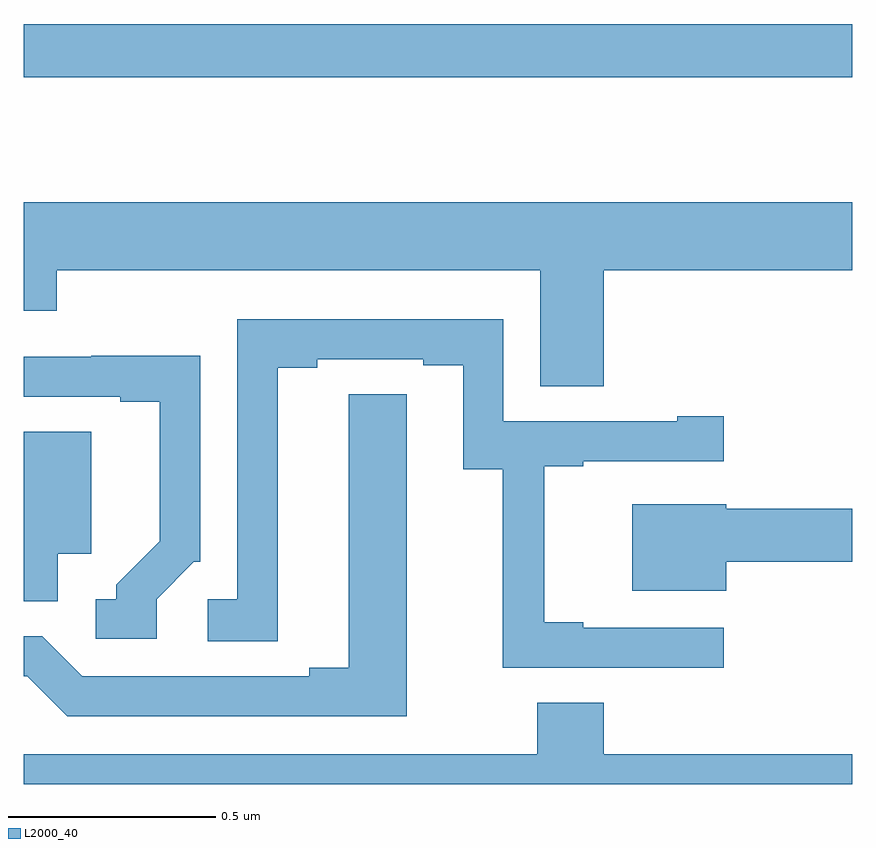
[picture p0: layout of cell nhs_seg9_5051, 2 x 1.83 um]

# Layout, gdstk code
import gdstk
lib = gdstk.Library(unit=1e-6, precision=1e-09)
def R(c, l, rs):  # rectangles x0, y0, x1, y1
    for r in rs: c.add(gdstk.rectangle(r[:2], r[2:], *l))
def P(c, l, *ps):  # polygons
    for p in ps: c.add(gdstk.Polygon(p, *l))
L2000_40 = (2000, 40)

nhs_seg9_5051 = lib.new_cell('nhs_seg9_5051')
R(nhs_seg9_5051, L2000_40, [(174,1210.206,176,1210.334)])
P(nhs_seg9_5051, L2000_40, [(175.4,1209.74),(176,1209.74),(176,1209.904),(174,1209.904),(174,1209.642),(174.08,1209.642),(174.08,1209.74),(175.247,1209.74),(175.247,1209.46),(175.4,1209.46)],
  [(175.69,1208.877),(175.351,1208.877),(175.351,1208.89),(175.256,1208.89),(175.256,1209.267),(175.351,1209.267),(175.351,1209.279),(175.69,1209.279),(175.69,1209.388),(175.577,1209.388),(175.577,1209.375),(175.158,1209.375),(175.158,1209.621),(174.516,1209.621),(174.516,1208.946),(174.444,1208.946),(174.444,1208.845),(174.613,1208.845),(174.613,1209.505),(174.709,1209.505),(174.709,1209.525),(174.965,1209.525),(174.965,1209.51),(175.061,1209.51),(175.061,1209.259),(175.156,1209.259),(175.156,1208.781),(175.69,1208.781)],
  [(174.321,1208.946),(174.411,1209.036),(174.426,1209.036),(174.426,1209.533),(174.163,1209.533),(174.163,1209.531),(174,1209.531),(174,1209.435),(174.233,1209.435),(174.233,1209.423),(174.329,1209.423),(174.329,1209.086),(174.224,1208.981),(174.224,1208.946),(174.174,1208.946),(174.174,1208.85),(174.321,1208.85)],
  [(174.925,1209.332),(174.924,1209.332),(174.924,1209.44),(174.785,1209.44),(174.785,1208.78),(174.689,1208.78),(174.689,1208.76),(174.141,1208.76),(174.045,1208.856),(174,1208.856),(174,1208.76),(174.009,1208.76),(174.105,1208.664),(174.925,1208.664)],
  [(174.082,1209.056),(174.163,1209.056),(174.163,1209.35),(174,1209.35),(174,1208.941),(174.082,1208.941)],
  [(175.696,1209.036),(176,1209.036),(176,1209.164),(175.696,1209.164),(175.696,1209.175),(175.469,1209.175),(175.469,1208.966),(175.696,1208.966)],
  [(176,1208.572),(175.4,1208.572),(175.4,1208.696),(175.24,1208.696),(175.24,1208.572),(174,1208.572),(174,1208.5),(176,1208.5)])

lib.write_gds('nhs_seg9_5051.gds')
